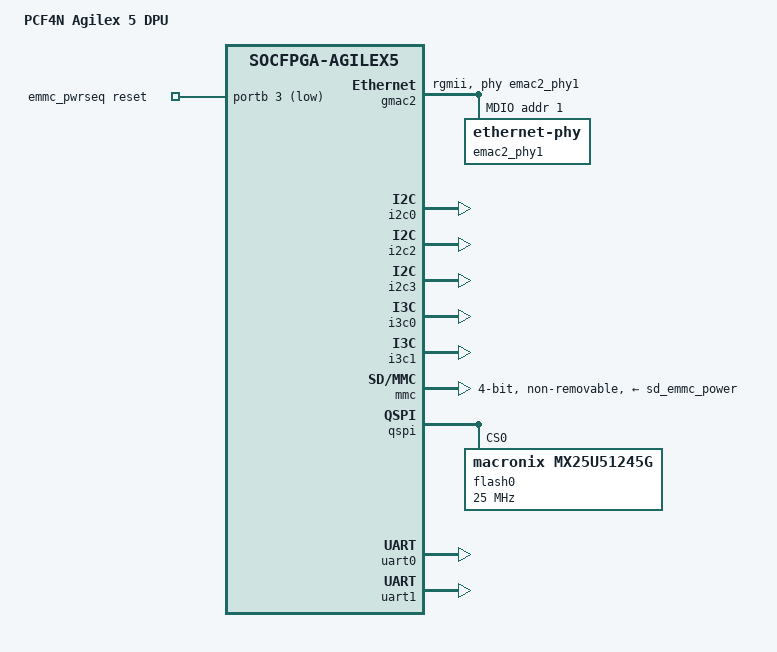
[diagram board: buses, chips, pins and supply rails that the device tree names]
// SPDX-License-Identifier: GPL-2.0

#include "socfpga_agilex5.dtsi"

/ {
	model = "PCF4N Agilex 5 DPU";
	compatible = "pcf4n,agilex5-dpu", "intel,socfpga-agilex5";

	aliases {
		serial0 = &uart0;
		serial1 = &uart1;
		ethernet0 = &gmac2;
		i2c0 = &i2c0;
		i2c2 = &i2c2;
		i2c3 = &i2c3;
		i3c0 = &i3c0;
		i3c1 = &i3c1;
		usb0 = &usb0;
		usb1 = &usb31;
	};

	emmc_pwrseq: emmc-pwrseq {
		compatible = "mmc-pwrseq-emmc";
		/* HPS GPIO27 is GPIO1/port B line 3; eMMC reset is active low. */
		reset-gpios = <&portb 3 GPIO_ACTIVE_LOW>;
	};

	memory {
		device_type = "memory";
		/* SPL replaces this with the Quartus handoff result. */
		reg = <0 0 0 0>;
	};

	soc {
		clocks {
			osc1 {
				clock-frequency = <25000000>;
			};
		};
	};
};

&gmac0 {
	status = "disabled";
};

&gmac1 {
	status = "disabled";
};

&gmac2 {
	status = "okay";
	phy-mode = "rgmii";
	phy-handle = <&emac2_phy1>;
	max-frame-size = <9000>;

	mdio0 {
		#address-cells = <1>;
		#size-cells = <0>;
		compatible = "snps,dwxgmac-mdio";

		emac2_phy1: ethernet-phy@1 {
			reg = <1>;
		};
	};
};

&i2c0 {
	/* Optical module 0 management. */
	status = "okay";
};

&i2c2 {
	/* I2C_EMAC0 is wired as the board power-management bus. */
	status = "okay";
};

&i2c3 {
	/* I2C_EMAC1 is wired to optical module 1 management. */
	status = "okay";
};

&i2c4 {
	/* I2C_EMAC2 shares pins with MDIO2; EMAC2 PHY management owns them. */
	status = "disabled";
};

&i3c0 {
	/* Optical module 2 management. */
	status = "okay";
};

&i3c1 {
	/* Optical module 3 management. */
	status = "okay";
};

&gpio1 {
	status = "okay";
};

&mmc {
	status = "okay";
	bus-width = <4>;
	non-removable;
	no-sd;
	no-sdio;
	disable-wp;
	cap-mmc-highspeed;
	mmc-hs200-1_8v;
	mmc-pwrseq = <&emmc_pwrseq>;
	/* The device core is powered at 3.3 V; its I/O rail is fixed at 1.8 V. */
	vmmc-supply = <&sd_emmc_power>;
	vqmmc-supply = <&emmc_io_1v8_reg>;
	/*
	 * The board routes DAT0..DAT3 only. Preserve the production SD6HC 200 MHz
	 * base-clock field and mask only its unconnected eight-bit capability.
	 * The FPGA HPS handoff must provide a matching 200 MHz SoftPHY clock.
	 */
	sdhci-caps-mask = <0x00000000 0x00040000>;
	max-frequency = <200000000>;

	/* Altera Agilex 5 eMMC-variant Legacy-mode timing configuration. */
	cdns,phy-dqs-timing-delay-sd-ds = <0x00780000>;
	cdns,phy-gate-lpbk-ctrl-delay-sd-ds = <0x81a40040>;
	cdns,phy-dll-slave-ctrl-sd-ds = <0x00a000fe>;
	cdns,phy-dq-timing-delay-sd-ds = <0x28000001>;

	/* Altera Agilex 5 eMMC-variant MMC HS/52 SDR timing configuration. */
	cdns,phy-dqs-timing-delay-emmc-sdr = <0x00780001>;
	cdns,phy-gate-lpbk-ctrl-delay-emmc-sdr = <0x81a40040>;
	cdns,phy-dll-slave-ctrl-emmc-sdr = <0x00000000>;
	cdns,phy-dq-timing-delay-emmc-sdr = <0x10000001>;
	cdns,ctrl-hrs09-timing-delay-emmc-sdr = <0x0001800c>;
	cdns,ctrl-hrs10-lpbk-ctrl-delay-emmc-sdr = <0x00030000>;
	cdns,ctrl-hrs16-slave-ctrl-emmc-sdr = <0x00000101>;
	cdns,ctrl-hrs07-timing-delay-emmc-sdr = <0x000a0001>;

	/* Altera Agilex 5 200 MHz eMMC HS200 profile; CMD21 tunes the read path. */
	cdns,phy-dq-timing-delay-emmc-hs200 = <0x10000001>;
	cdns,phy-dqs-timing-delay-emmc-hs200 = <0x00780004>;
	cdns,phy-dll-slave-ctrl-emmc-hs200 = <0x004d4d00>;
	cdns,phy-gate-lpbk-ctrl-delay-emmc-hs200 = <0x81a40040>;
	cdns,phy-dll-master-ctrl-emmc-hs200 = <0x00000004>;
	cdns,ctrl-hrs09-timing-delay-emmc-hs200 = <0xf1c18000>;
	cdns,ctrl-hrs10-lpbk-ctrl-delay-emmc-hs200 = <0x00090000>;
	cdns,ctrl-hrs16-slave-ctrl-emmc-hs200 = <0x00000101>;
	cdns,ctrl-hrs07-timing-delay-emmc-hs200 = <0x000a0001>;
};

&qspi {
	status = "okay";

	flash0: flash@0 {
		#address-cells = <1>;
		#size-cells = <1>;
		compatible = "macronix,mx25u51245g", "jedec,spi-nor";
		reg = <0>;
		/*
		 * Keep the first HPS-side QSPI reads deliberately conservative.
		 * SDM still configures the FPGA from this device in AS x4 mode; this
		 * setting controls only the Cadence controller after HPS ownership.
		 */
		spi-max-frequency = <25000000>;
		spi-tx-bus-width = <1>;
		spi-rx-bus-width = <1>;
	};
};

&uart0 {
	status = "okay";
};

&uart1 {
	/* L4 SP is 100 MHz in the Quartus handoff and SPL clock report. */
	clock-frequency = <100000000>;
	status = "okay";
};
